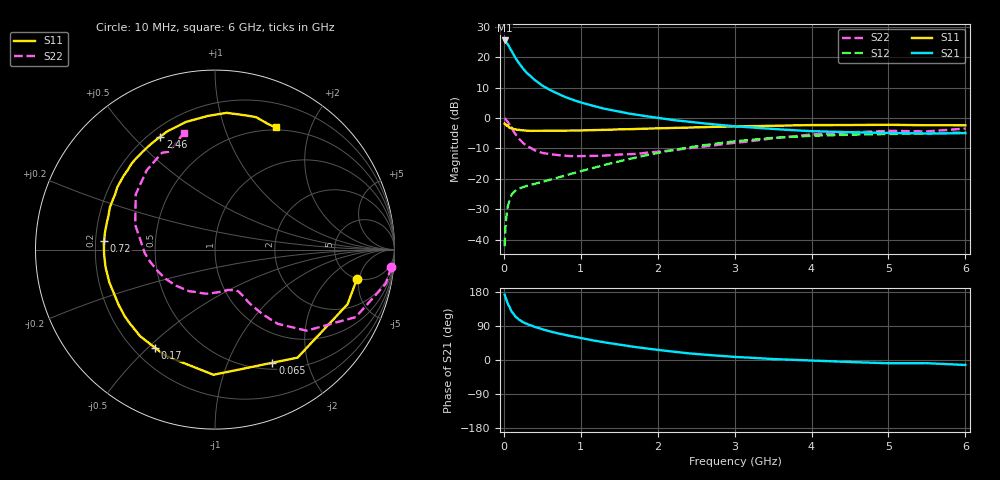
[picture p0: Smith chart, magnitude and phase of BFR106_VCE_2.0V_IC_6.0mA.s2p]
! Infineon Technologies  Discrete & RF Semiconductors
! BFR106
! VCE =  2.0 V,  IC =  6.0 mA
! Common Emitter S-Parameters:  Nov 2015
# GHz  S  MA  R  50
!  f  S11  S21  S12  S22
! GHz  MAG  ANG  MAG  ANG  MAG  ANG  MAG  ANG
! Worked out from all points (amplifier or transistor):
!   210 points, 10 MHz to 6 GHz, reference 50 ohm
!   highest |S21| = 25.5 dB at 10 MHz (marker M1)
!   |S21| within 3 dB of that: start of sweep to 89.23 MHz
!   unconditionally stable (mu >= 1): 578.9 MHz to 2.296 GHz; 4.256 GHz to end of sweep
!   at 185 MHz: K = 0.43, MSG = 20.9 dB, |S12| = -23.4 dB
!   at 1.52 GHz: K = 1.12, MAG = 6.0 dB, |S12| = -14.1 dB
!   at 6 GHz: K = 1.02, MAG = -1.1 dB, |S12| = -4.8 dB
!   S11 on the Smith chart (normalised r, x): 10 MHz: 4.97, -4.64; 65 MHz: 0.58, -1.47; 170 MHz: 0.28, -0.53; 720 MHz: 0.24, +0.04; 2.46 GHz: 0.24, +0.60; 6 GHz: 0.47, +1.51
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0.01  0.8077 -11.6  18.84 172.4  0.0078 86.0  0.9872 -5.6
0.02  0.7988 -22.4  18.42 166.6  0.0154 79.0  0.9701 -11.3
0.05  0.7575 -52.6  16.41 148.5  0.035 64.5  0.8695 -25.6
0.065  0.7068 -63.1  15.12 143.5  0.0406 58.6  0.8072 -29.6
0.1  0.6975 -90.7  12.71 128.1  0.0549 49.8  0.6815 -41.5
0.15  0.6529 -115.0  9.741 114.5  0.0641 42.1  0.5413 -49.8
0.17  0.641 -121.3  8.966 111.6  0.0662 40.8  0.5049 -51.1
0.2  0.6379 -130.9  7.858 106.1  0.0695 39.0  0.4509 -53.5
0.24  0.6276 -139.9  6.732 101.0  0.0724 37.8  0.3985 -55.4
0.3  0.6188 -150.3  5.483 94.8  0.0766 38.0  0.3479 -57.5
0.4  0.6164 -162.8  4.227 87.3  0.0826 39.7  0.2951 -59.1
0.5  0.6178 -170.9  3.416 81.0  0.089 42.4  0.2666 -60.8
0.6  0.6186 -177.8  2.886 75.4  0.0965 45.1  0.2539 -63.3
0.72  0.6197 175.7  2.444 69.6  0.106 48.1  0.2443 -67.1
1.02  0.6245 161.5  1.774 57.1  0.1352 53.7  0.2365 -78.4
1.4  0.6457 147.5  1.343 43.8  0.1806 56.5  0.2462 -96.1
2.02  0.6754 128.1  0.993 26.4  0.2693 53.4  0.2803 -128.5
2.46  0.699 115.9  0.854 16.6  0.3367 47.8  0.3232 -151.6
3.1  0.7309 100.9  0.716 7.2  0.424 36.8  0.4015 178.5
4.1  0.7642 83.7  0.602 -2.2  0.514 18.8  0.5445 142.0
5.1  0.7695 71.7  0.565 -8.5  0.547 4.4  0.6122 118.0
6  0.7597 63.6  0.564 -13.1  0.5787 -5.7  0.6714 105.1
